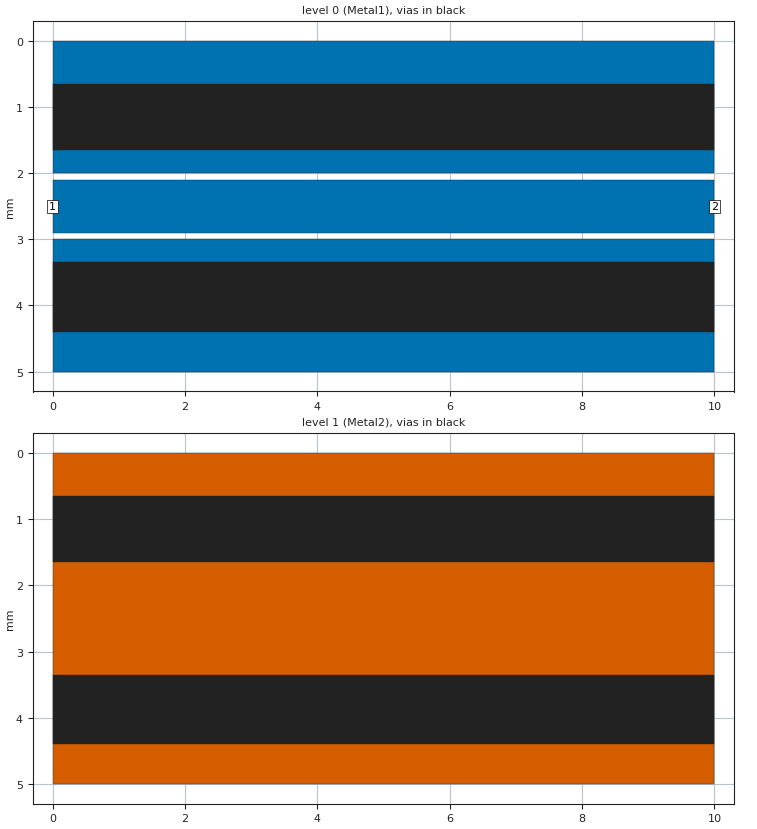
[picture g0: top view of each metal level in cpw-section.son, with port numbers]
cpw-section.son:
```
FTYP SONPROJ 17 ! Sonnet Project File
VER 17.52.2
HEADER
LIC antikernel2.1.48685 90e2ba8817c0 havequick azonenberg
DAT 03/04/2020 21:31:39
BUILT_BY_CREATED xgeom 16.56 07/03/2018 15:05:41
BUILT_BY_SAVED sonnet 17.52.2
MDATE 03/04/2020 18:23:56
HDATE 03/04/2020 18:23:56
END HEADER
DIM
ANG DEG
CAP PF
CON /OH
FREQ GHZ
IND NH
LNG MM
RES OH
END DIM
CONTROL
VARSWP
OPTIONS  -dj
SPEED 0
CACHE_ABS 1
Q_ACC N
END CONTROL
GEO
SYM
TMET "Free Space" 0 FREESPACE 376.7303136 0 0 0
BMET "Free Space" 0 FREESPACE 376.7303136 0 0 0
MET "Silver" 1 TMM 61700000 0.5 0.035 3
BOX 2 10 5 160 400 20 0
      1 1 1 0 0 0 0 "Air"
      1.5 3.5 1 0.0037 0 0 0 "Rogers RO4350B"
      1 1 1 0 0 0 0 "Substrate"
TECHLAY METAL Metal1 <UNSPECIFIED> -2 0 
0 0 0 N 0 1 1 100 100 0 0 0 Y
END
END
TECHLAY METAL Metal2 <UNSPECIFIED> -3 0 
1 0 -1 N 0 1 1 100 100 0 0 0 Y
END
END
VALVAR WIDTH LNG 0.8 "Dim. Param."
VALVAR TOPSPACE LNG 0.1 "Dim. Param."
VALVAR BOTSPACE LNG 0.1 "Dim. Param."
LORGN 0 250 U 
POR1 BOX
POLY 149 1
3
1 50 0 0 0 0 2.5 
POR1 BOX
POLY 149 1
1
2 50 0 0 0 10 2.5 
NUM 6
0 5 0 N 149 1 1 100 100 0 0 0 Y
TLAYNAM Metal1 INH
0 2.1
10 2.1
10 2.9
0 2.9
0 2.1
END
0 5 0 N 152 1 1 100 100 0 0 0 Y
TLAYNAM Metal1 INH
0 0
10 0
10 2
0 2
0 0
END
0 5 0 N 153 1 1 100 100 0 0 0 Y
TLAYNAM Metal1 INH
0 3
10 3
10 5
0 5
0 3
END
VIA POLYGON
0 5 -1 N 154 1 1 100 100 0 0 0 Y
TOLEVEL 1 RING NOCOVERS
0 0.65
10 0.65
10 1.65
0 1.65
0 0.65
END
VIA POLYGON
0 5 -1 N 155 1 1 100 100 0 0 0 Y
TOLEVEL 1 RING NOCOVERS
0 3.35
10 3.35
10 4.4
0 4.4
0 3.35
END
1 5 -1 N 158 1 1 100 100 0 0 0 Y
TLAYNAM Metal2 INH
0 0
10 0
10 5
0 5
0 0
END
END GEO
OPT
MAX 100
END OPT
VARSWP
SWPVARS ON
ENABLED Y
FREQ Y AY ABS_ENTRY 0.1 10.0 -1 300 
VAR WIDTH Y 0.725 0.875 0.025
VAR TOPSPACE N 0.1 0.1 UNDEF
VAR BOTSPACE N 0.1 0.1 UNDEF
END
END VARSWP
FILEOUT
FOLDER .
END FILEOUT
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```
